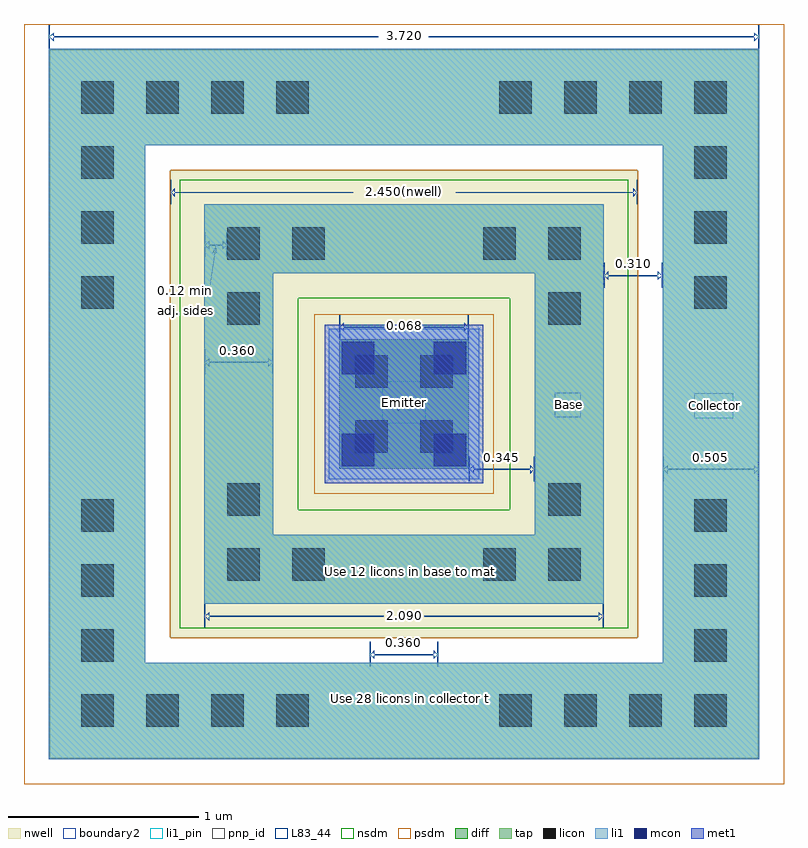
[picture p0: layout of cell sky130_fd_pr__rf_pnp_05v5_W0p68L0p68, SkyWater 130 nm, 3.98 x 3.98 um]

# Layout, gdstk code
import gdstk
lib = gdstk.Library(unit=1e-6, precision=1e-09)
def R(c, l, rs):  # rectangles x0, y0, x1, y1
    for r in rs: c.add(gdstk.rectangle(r[:2], r[2:], *l))
def A(c, l, x, y, w, h, nx, ny, dx, dy):  # array of equal rectangles
    R(c, l, [(x+i*dx, y+j*dy, x+i*dx+w, y+j*dy+h) for i in range(nx) for j in range(ny)])
def P(c, l, *ps):  # polygons
    for p in ps: c.add(gdstk.Polygon(p, *l))
nwell = (64, 20)
diff = (65, 20)
tap = (65, 44)
licon = (66, 44)
li1_pin = (67, 16)
li1 = (67, 20)
mcon = (67, 44)
met1 = (68, 20)
pnp_id = (82, 44)
L83_44 = (83, 44)
nsdm = (93, 44)
psdm = (94, 20)
boundary2 = (236, 0)

sky130_fd_pr__rf_pnp_05v = lib.new_cell('sky130_fd_pr__rf_pnp_05v5_W0p68L0p68')
R(sky130_fd_pr__rf_pnp_05v, nwell, [(0.765,0.765,3.215,3.215)])
R(sky130_fd_pr__rf_pnp_05v, diff, [(1.65,1.65,2.33,2.33)])
P(sky130_fd_pr__rf_pnp_05v, tap, [(0.13,0.13),(0.13,3.85),(3.345,3.85),(3.345,3.345),(0.635,3.345),(0.635,0.635),(3.345,0.635),(3.345,3.85),(3.85,3.85),(3.85,0.13)],
  [(0.945,0.945),(0.945,3.035),(2.675,3.035),(2.675,2.675),(1.305,2.675),(1.305,1.305),(2.675,1.305),(2.675,3.035),(3.035,3.035),(3.035,0.945)])
A(sky130_fd_pr__rf_pnp_05v, licon, 0.3, 0.3, 0.17, 0.17, 4, 2, 0.34, 3.21)
A(sky130_fd_pr__rf_pnp_05v, licon, 2.49, 0.3, 0.17, 0.17, 4, 2, 0.34, 3.21)
A(sky130_fd_pr__rf_pnp_05v, licon, 0.3, 0.64, 0.17, 0.17, 1, 3, 0, 0.34)
A(sky130_fd_pr__rf_pnp_05v, licon, 3.51, 0.64, 0.17, 0.17, 1, 3, 0, 0.34)
A(sky130_fd_pr__rf_pnp_05v, licon, 0.3, 2.49, 0.17, 0.17, 1, 3, 0, 0.34)
A(sky130_fd_pr__rf_pnp_05v, licon, 3.51, 2.49, 0.17, 0.17, 1, 3, 0, 0.34)
R(sky130_fd_pr__rf_pnp_05v, licon, [(1.065,1.065,1.235,1.235), (1.405,1.065,1.575,1.235), (2.405,1.065,2.575,1.235), (2.745,1.065,2.915,1.235), (1.065,1.405,1.235,1.575), (2.745,1.405,2.915,1.575), (1.735,1.735,1.905,1.905), (2.075,1.735,2.245,1.905), (1.735,2.075,1.905,2.245), (2.075,2.075,2.245,2.245), (1.065,2.405,1.235,2.575), (2.745,2.405,2.915,2.575), (1.065,2.745,1.235,2.915), (1.405,2.745,1.575,2.915), (2.405,2.745,2.575,2.915), (2.745,2.745,2.915,2.915)])
R(sky130_fd_pr__rf_pnp_05v, li1_pin, [(1.875,1.89,2.105,2.11), (3.51,1.915,3.715,2.045), (2.78,1.92,2.915,2.05)])
R(sky130_fd_pr__rf_pnp_05v, li1, [(1.595,1.595,2.385,2.385)])
P(sky130_fd_pr__rf_pnp_05v, li1, [(0.13,0.13),(0.13,3.85),(3.345,3.85),(3.345,3.345),(0.635,3.345),(0.635,0.635),(3.345,0.635),(3.345,3.85),(3.85,3.85),(3.85,0.13)],
  [(0.945,0.945),(0.945,3.035),(2.675,3.035),(2.675,2.675),(1.305,2.675),(1.305,1.305),(2.675,1.305),(2.675,3.035),(3.035,3.035),(3.035,0.945)])
R(sky130_fd_pr__rf_pnp_05v, mcon, [(1.665,1.665,1.835,1.835), (2.145,1.665,2.315,1.835), (1.665,2.145,1.835,2.315), (2.145,2.145,2.315,2.315)])
R(sky130_fd_pr__rf_pnp_05v, met1, [(1.575,1.575,2.405,2.405)])
R(sky130_fd_pr__rf_pnp_05v, pnp_id, [(0.135,0.135,3.845,3.845)])
P(sky130_fd_pr__rf_pnp_05v, L83_44, [(3.345,1.585),(3.345,1.715),(3.35,1.715),(3.35,1.65),(3.37,1.67),(3.37,1.65),(3.825,1.65),(3.825,1.67),(3.845,1.65),(3.845,1.715),(3.85,1.715),(3.85,1.585),(3.845,1.585),(3.845,1.645),(3.825,1.625),(3.825,1.645),(3.37,1.645),(3.37,1.625),(3.35,1.645),(3.35,1.585)],
  [(3.845,3.85),(3.845,3.91),(3.825,3.89),(3.825,3.91),(2.12,3.91),(2.12,3.915),(3.825,3.915),(3.825,3.935),(3.845,3.915),(3.845,3.98),(3.85,3.98),(3.85,3.85)],
  [(3.035,2.6),(3.035,2.73),(3.04,2.73),(3.04,2.665),(3.06,2.685),(3.06,2.665),(3.32,2.665),(3.32,2.685),(3.34,2.665),(3.34,2.73),(3.345,2.73),(3.345,2.6),(3.34,2.6),(3.34,2.66),(3.32,2.64),(3.32,2.66),(3.06,2.66),(3.06,2.64),(3.04,2.66),(3.04,2.6)],
  [(3.21,3.035),(3.21,3.095),(3.19,3.075),(3.19,3.095),(2.26,3.095),(2.26,3.1),(3.19,3.1),(3.19,3.12),(3.21,3.1),(3.21,3.165),(3.215,3.165),(3.215,3.035)],
  [(3.03,0.815),(3.03,0.875),(3.01,0.855),(3.01,0.875),(2.095,0.875),(2.095,0.88),(3.01,0.88),(3.01,0.9),(3.03,0.88),(3.03,0.945),(3.035,0.945),(3.035,0.815)],
  [(2.33,1.585),(2.33,1.715),(2.335,1.715),(2.335,1.65),(2.355,1.67),(2.355,1.65),(2.65,1.65),(2.65,1.67),(2.67,1.65),(2.67,1.715),(2.675,1.715),(2.675,1.585),(2.67,1.585),(2.67,1.645),(2.65,1.625),(2.65,1.645),(2.355,1.645),(2.355,1.625),(2.335,1.645),(2.335,1.585)],
  [(2.325,2.33),(2.325,2.39),(2.305,2.37),(2.305,2.39),(2.095,2.39),(2.095,2.395),(2.305,2.395),(2.305,2.415),(2.325,2.395),(2.325,2.46),(2.33,2.46),(2.33,2.33)],
  [(1.81,0.615),(1.81,0.745),(1.815,0.745),(1.815,0.68),(1.835,0.7),(1.835,0.68),(2.145,0.68),(2.145,0.7),(2.165,0.68),(2.165,0.745),(2.17,0.745),(2.17,0.615),(2.165,0.615),(2.165,0.675),(2.145,0.655),(2.145,0.675),(1.835,0.675),(1.835,0.655),(1.815,0.675),(1.815,0.615)],
  [(1.959,1.951),(1.951,1.959),(1.982,1.99),(1.951,2.021),(1.959,2.029),(1.99,1.998),(2.021,2.029),(2.029,2.021),(1.998,1.99),(2.029,1.959),(2.021,1.951),(1.99,1.982)],
  [(0.945,0.815),(0.945,0.945),(0.95,0.945),(0.95,0.88),(0.97,0.9),(0.97,0.88),(1.885,0.88),(1.885,0.875),(0.97,0.875),(0.97,0.855),(0.95,0.875),(0.95,0.815)],
  [(1.65,2.33),(1.65,2.46),(1.655,2.46),(1.655,2.395),(1.675,2.415),(1.675,2.395),(1.885,2.395),(1.885,2.39),(1.675,2.39),(1.675,2.37),(1.655,2.39),(1.655,2.33)],
  [(0.13,3.85),(0.13,3.98),(0.135,3.98),(0.135,3.915),(0.155,3.935),(0.155,3.915),(1.855,3.915),(1.855,3.91),(0.155,3.91),(0.155,3.89),(0.135,3.91),(0.135,3.85)],
  [(0.765,3.035),(0.765,3.165),(0.77,3.165),(0.77,3.1),(0.79,3.12),(0.79,3.1),(1.725,3.1),(1.725,3.095),(0.79,3.095),(0.79,3.075),(0.77,3.095),(0.77,3.035)],
  [(0.945,2.145),(0.945,2.275),(0.95,2.275),(0.95,2.21),(0.97,2.23),(0.97,2.21),(1.28,2.21),(1.28,2.23),(1.3,2.21),(1.3,2.275),(1.305,2.275),(1.305,2.145),(1.3,2.145),(1.3,2.205),(1.28,2.185),(1.28,2.205),(0.97,2.205),(0.97,2.185),(0.95,2.205),(0.95,2.145)],
  [(0.975,2.615),(0.975,2.62),(1,2.785),(0.985,2.78),(1.005,2.815),(1.01,2.78),(1.001,2.785)],
  [(0.945,2.76),(0.945,2.89),(0.95,2.89),(0.95,2.825),(0.97,2.845),(0.97,2.825),(1.04,2.825),(1.04,2.845),(1.06,2.825),(1.06,2.89),(1.065,2.89),(1.065,2.76),(1.06,2.76),(1.06,2.82),(1.04,2.8),(1.04,2.82),(0.97,2.82),(0.97,2.8),(0.95,2.82),(0.95,2.76)])
P(sky130_fd_pr__rf_pnp_05v, nsdm, [(0.815,0.815),(0.815,3.165),(2.545,3.165),(2.545,2.545),(1.435,2.545),(1.435,1.435),(2.545,1.435),(2.545,3.165),(3.165,3.165),(3.165,0.815)])
R(sky130_fd_pr__rf_pnp_05v, psdm, [(1.52,1.52,2.46,2.46)])
P(sky130_fd_pr__rf_pnp_05v, psdm, [(0,0),(0,3.98),(3.215,3.98),(3.215,3.215),(0.765,3.215),(0.765,0.765),(3.215,0.765),(3.215,3.98),(3.98,3.98),(3.98,0)])
R(sky130_fd_pr__rf_pnp_05v, boundary2, [(0.13,0.13,3.85,3.85)])
sky130_fd_pr__rf_pnp_05v.add(gdstk.Label('0.068', (1.99,2.4), layer=83, texttype=44))
sky130_fd_pr__rf_pnp_05v.add(gdstk.Label('2.090', (1.99,0.885), layer=83, texttype=44))
sky130_fd_pr__rf_pnp_05v.add(gdstk.Label('0.345', (2.5,1.71), layer=83, texttype=44))
sky130_fd_pr__rf_pnp_05v.add(gdstk.Label('0.360', (1.12,2.27), layer=83, texttype=44))
sky130_fd_pr__rf_pnp_05v.add(gdstk.Label('0.310', (3.19,2.725), layer=83, texttype=44))
sky130_fd_pr__rf_pnp_05v.add(gdstk.Label('0.505', (3.595,1.71), layer=83, texttype=44))
sky130_fd_pr__rf_pnp_05v.add(gdstk.Label('2.450(nwell)', (1.99,3.105), layer=83, texttype=44))
sky130_fd_pr__rf_pnp_05v.add(gdstk.Label('3.720', (1.99,3.92), layer=83, texttype=44))
sky130_fd_pr__rf_pnp_05v.add(gdstk.Label('0.360', (1.985,0.74), layer=83, texttype=44))
sky130_fd_pr__rf_pnp_05v.add(gdstk.Label('adj. sides', (0.845,2.48), layer=83, texttype=44))
sky130_fd_pr__rf_pnp_05v.add(gdstk.Label('0.12 min', (0.845,2.585), layer=83, texttype=44))
sky130_fd_pr__rf_pnp_05v.add(gdstk.Label('Use 12 licons in base to match PNP model', (2.025,1.115), layer=83, texttype=44))
sky130_fd_pr__rf_pnp_05v.add(gdstk.Label('Use 28 licons in collector to match PNP model', (2.025,0.45), layer=83, texttype=44))
sky130_fd_pr__rf_pnp_05v.add(gdstk.Label('Base', (2.85,1.985), layer=67, texttype=5))
sky130_fd_pr__rf_pnp_05v.add(gdstk.Label('Collector', (3.615,1.98), layer=67, texttype=5))
sky130_fd_pr__rf_pnp_05v.add(gdstk.Label('Emitter', (1.99,2), layer=67, texttype=5))

lib.write_gds('sky130_fd_pr__rf_pnp_05v5_W0p68L0p68.gds')
